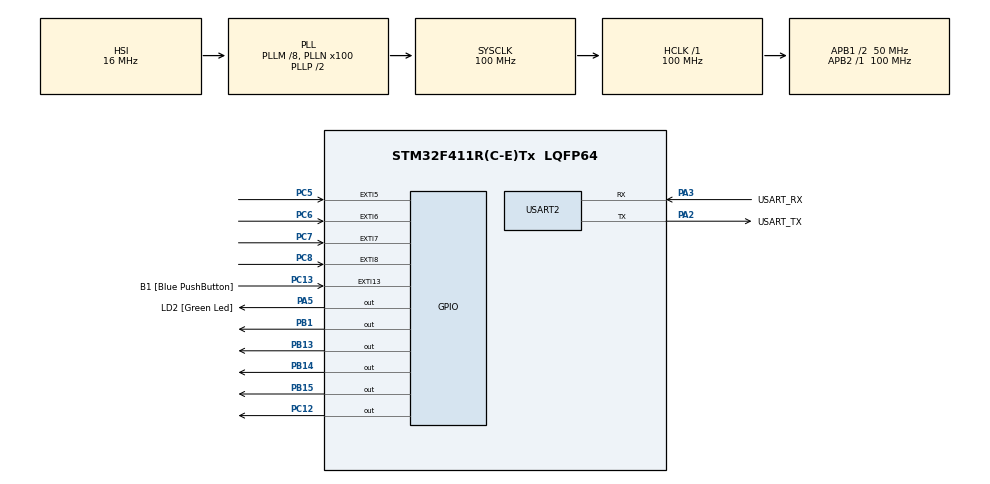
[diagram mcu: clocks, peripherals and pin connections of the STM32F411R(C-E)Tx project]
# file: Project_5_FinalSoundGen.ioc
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Mcu.Family=STM32F4
Mcu.Name=STM32F411R(C-E)Tx
Mcu.Package=LQFP64
NVIC.EXTI15_10_IRQn=true\:0\:0\:false\:false\:true\:true\:true
NVIC.EXTI9_5_IRQn=true\:0\:0\:false\:false\:true\:true\:true
NVIC.PriorityGroup=NVIC_PRIORITYGROUP_0
NVIC.TIM3_IRQn=true\:0\:0\:false\:false\:true\:true\:true
NVIC.USART2_IRQn=true\:0\:0\:false\:false\:true\:true\:true
PA13.GPIO_Label=TMS
PA13.Mode=Serial_Wire
PA13.Signal=SYS_JTMS-SWDIO
PA14.GPIO_Label=TCK
PA14.Mode=Serial_Wire
PA14.Signal=SYS_JTCK-SWCLK
PA2.GPIO_Label=USART_TX
PA2.Mode=Asynchronous
PA2.Signal=USART2_TX
PA3.GPIO_Label=USART_RX
PA3.Mode=Asynchronous
PA3.Signal=USART2_RX
PA5.GPIO_Label=LD2 [Green Led]
PA5.Signal=GPIO_Output
PB1.GPIO_PuPd=GPIO_PULLDOWN
PB1.Signal=GPIO_Output
PB13.GPIO_PuPd=GPIO_PULLDOWN
PB13.Signal=GPIO_Output
PB14.GPIO_PuPd=GPIO_PULLDOWN
PB14.Signal=GPIO_Output
PB15.GPIO_PuPd=GPIO_PULLDOWN
PB15.Signal=GPIO_Output
PB3.GPIO_Label=SWO
PB3.Signal=SYS_JTDO-SWO
PC12.Signal=GPIO_Output
PC13-ANTI_TAMP.GPIO_Label=B1 [Blue PushButton]
PC13-ANTI_TAMP.GPIO_ModeDefaultEXTI=GPIO_MODE_IT_FALLING
PC13-ANTI_TAMP.Signal=GPXTI13
PC14-OSC32_IN.Mode=LSE-External-Oscillator
PC14-OSC32_IN.Signal=RCC_OSC32_IN
PC15-OSC32_OUT.Mode=LSE-External-Oscillator
PC15-OSC32_OUT.Signal=RCC_OSC32_OUT
PC5.GPIO_ModeDefaultEXTI=GPIO_MODE_IT_FALLING
PC5.GPIO_PuPd=GPIO_PULLUP
PC5.Signal=GPXTI5
PC6.GPIO_ModeDefaultEXTI=GPIO_MODE_IT_FALLING
PC6.GPIO_PuPd=GPIO_PULLUP
PC6.Signal=GPXTI6
PC7.GPIO_ModeDefaultEXTI=GPIO_MODE_IT_FALLING
PC7.GPIO_PuPd=GPIO_PULLUP
PC7.Signal=GPXTI7
PC8.GPIO_ModeDefaultEXTI=GPIO_MODE_IT_FALLING
PC8.GPIO_PuPd=GPIO_PULLUP
PC8.Signal=GPXTI8
PH0\ -\ OSC_IN.Mode=HSE-External-Clock-Source
PH0\ -\ OSC_IN.Signal=RCC_OSC_IN
PH1\ -\ OSC_OUT.Mode=HSE-External-Clock-Source
PH1\ -\ OSC_OUT.Signal=RCC_OSC_OUT
ProjectManager.HeapSize=0x200
ProjectManager.StackSize=0x400
ProjectManager.TargetToolchain=STM32CubeIDE
RCC.48MHZClocksFreq_Value=50000000
RCC.AHBFreq_Value=100000000
RCC.APB1CLKDivider=RCC_HCLK_DIV2
RCC.APB1Freq_Value=50000000
RCC.APB1TimFreq_Value=100000000
RCC.APB2Freq_Value=100000000
RCC.APB2TimFreq_Value=100000000
RCC.CortexFreq_Value=100000000
RCC.FLatency-AdvancedSettings=FLASH_LATENCY_3
RCC.HCLKFreq_Value=100000000
RCC.HSE_VALUE=8000000
RCC.HSI_VALUE=16000000
RCC.PLLM=8
RCC.PLLN=100
RCC.SYSCLKFreq_VALUE=100000000
RCC.SYSCLKSource=RCC_SYSCLKSOURCE_PLLCLK
RCC.VCOOutputFreq_Value=200000000
TIM3.Prescaler=1
USART2.VirtualMode=VM_ASYNC
VP_TIM3_VS_ClockSourceINT.Mode=Internal
board=NUCLEO-F411RE

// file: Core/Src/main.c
/* USER CODE BEGIN Header */
/**
  ******************************************************************************
  * @file           : main.c
  * @brief          : Main program body
  ******************************************************************************
  * @attention
  *
  * <h2><center>&copy; Copyright (c) 2021 STMicroelectronics.
  * All rights reserved.</center></h2>
  *
  * This software component is licensed by ST under BSD 3-Clause license,
  * the "License"; You may not use this file except in compliance with the
  * License. You may obtain a copy of the License at:
  *                        opensource.org/licenses/BSD-3-Clause
  *
  ******************************************************************************
  */
/* USER CODE END Header */
#include "main.h"

/* USER CODE BEGIN Includes */
#include "string.h"
#include "stdlib.h"
#include "stdbool.h"
#include "float.h"
#include "stdio.h"
#include "memory.h"
#include "stdint.h"
#include "stm32f4xx_hal_rcc.h"
#include "stm32f4xx_hal.h"
#include "stm32f4xx_hal_exti.h"
#include "stm32f4xx_hal_flash_ex.h"
#include "stm32f4xx_hal_flash.h"
#include "stm32f4xx_hal_gpio.h"
/* USER CODE END Includes */

/* USER CODE BEGIN PD */
#define FLASH_PROGRAM_BYTE	((uint32_t)0x00)
#define FLASH_PROGRAM_HWORD	((uint32_t)0x01)
#define FLASH_PROGRAM_WORD	((uint32_t)0x02)
/* USER CODE END PD */

TIM_HandleTypeDef htim3;

UART_HandleTypeDef huart2;

/* USER CODE BEGIN PV */
uint32_t timer;
uint32_t timerRaw;

//uint32_t i = 0;

char keyChar = 0;
uint16_t key = 0;
/* USER CODE END PV */

void SystemClock_Config(void);
static void MX_GPIO_Init(void);
static void MX_USART2_UART_Init(void);
static void MX_TIM3_Init(void);
/* USER CODE BEGIN PFP */
uint16_t keyPadScan(void);
/* USER CODE END PFP */

int main(void)
{

  /* MCU Configuration--------------------------------------------------------*/

  /* Reset of all peripherals, Initializes the Flash interface and the Systick. */
  HAL_Init();

  /* Configure the system clock */
  SystemClock_Config();

  /* Initialize all configured peripherals */
  MX_GPIO_Init();
  MX_USART2_UART_Init();
  MX_TIM3_Init();
  /* USER CODE BEGIN 2 */
//int state = 0;

HAL_TIM_Base_Start(&htim3);

  /* USER CODE END 2 */

  /* Infinite loop */
  /* USER CODE BEGIN WHILE */
  while (1)
  {

	  timerRaw = __HAL_TIM_GET_COUNTER(&htim3);
	  if(timerRaw != timer){
		  timer++;
	  }

//if((state == 0)&(timer <= 5000)){
//	HAL_GPIO_WritePin(GPIOC, GPIO_PIN_12, GPIO_PIN_SET);
//}else if((state == 0)&(timer >= 5000)){
//	HAL_GPIO_WritePin(GPIOC, GPIO_PIN_12, GPIO_PIN_RESET);
//}

if(keyChar != 0){
	//C4 1 261.63
	if(keyChar == 49){
		if(timer >= 2582){
		  timer = 0;
		}
		if(timer <= 1241){
			HAL_GPIO_WritePin(GPIOC, GPIO_PIN_12, GPIO_PIN_SET);
		}else if(timer >= 1241){
			HAL_GPIO_WritePin(GPIOC, GPIO_PIN_12, GPIO_PIN_RESET);
		}
	}
	//D 2 293.66
	if(keyChar == 50){
		if(timer >= 2300){
		  timer = 0;
		}
		if(timer <= 1150){
			HAL_GPIO_WritePin(GPIOC, GPIO_PIN_12, GPIO_PIN_SET);
		}else if(timer >= 1150){
			HAL_GPIO_WritePin(GPIOC, GPIO_PIN_12, GPIO_PIN_RESET);
		}
	}
	//E 3 329.63
	if(keyChar == 51){
		if(timer >= 2052){
		  timer = 0;
		}
		if(timer <= 1026){
			HAL_GPIO_WritePin(GPIOC, GPIO_PIN_12, GPIO_PIN_SET);
		}else if(timer >= 1026){
			HAL_GPIO_WritePin(GPIOC, GPIO_PIN_12, GPIO_PIN_RESET);
		}
	}
	//F 4 349.23
	if(keyChar == 52){
		if(timer >= 1942){
		  timer = 0;
		}
		if(timer <= 971){
			HAL_GPIO_WritePin(GPIOC, GPIO_PIN_12, GPIO_PIN_SET);
		}else if(timer >= 971){
			HAL_GPIO_WritePin(GPIOC, GPIO_PIN_12, GPIO_PIN_RESET);
		}
	}
	//G 5 391.00
	if(keyChar == 53){
		if(timer >= 1728){
		  timer = 0;
		}
		if(timer <= 864){
			HAL_GPIO_WritePin(GPIOC, GPIO_PIN_12, GPIO_PIN_SET);
		}else if(timer >= 864){
			HAL_GPIO_WritePin(GPIOC, GPIO_PIN_12, GPIO_PIN_RESET);
		}
	}
	//A 6 440.00
	if(keyChar == 54){
		if(timer >= 1530){
		  timer = 0;
		}
		if(timer <= 765){
			HAL_GPIO_WritePin(GPIOC, GPIO_PIN_12, GPIO_PIN_SET);
		}else if(timer >= 765){
			HAL_GPIO_WritePin(GPIOC, GPIO_PIN_12, GPIO_PIN_RESET);
		}
	}
	//B 7 493.88
	if(keyChar == 55){
		if(timer >= 1374){
		  timer = 0;
		}
		if(timer <= 687){
			HAL_GPIO_WritePin(GPIOC, GPIO_PIN_12, GPIO_PIN_SET);
		}else if(timer >= 687){
			HAL_GPIO_WritePin(GPIOC, GPIO_PIN_12, GPIO_PIN_RESET);
		}
	}
	//C5 8 523.25
	if(keyChar == 56){
		if(timer >= 1288){
		  timer = 0;
		}
		if(timer <= 644){
			HAL_GPIO_WritePin(GPIOC, GPIO_PIN_12, GPIO_PIN_SET);
		}else if(timer >= 644){
			HAL_GPIO_WritePin(GPIOC, GPIO_PIN_12, GPIO_PIN_RESET);
		}
	}
}

    /* USER CODE END WHILE */

  }
}

void SystemClock_Config(void)
{
  RCC_OscInitTypeDef RCC_OscInitStruct = {0};
  RCC_ClkInitTypeDef RCC_ClkInitStruct = {0};

  /** Configure the main internal regulator output voltage
  */
  __HAL_RCC_PWR_CLK_ENABLE();
  __HAL_PWR_VOLTAGESCALING_CONFIG(PWR_REGULATOR_VOLTAGE_SCALE1);
  /** Initializes the RCC Oscillators according to the specified parameters
  * in the RCC_OscInitTypeDef structure.
  */
  RCC_OscInitStruct.OscillatorType = RCC_OSCILLATORTYPE_HSI;
  RCC_OscInitStruct.HSIState = RCC_HSI_ON;
  RCC_OscInitStruct.HSICalibrationValue = RCC_HSICALIBRATION_DEFAULT;
  RCC_OscInitStruct.PLL.PLLState = RCC_PLL_ON;
  RCC_OscInitStruct.PLL.PLLSource = RCC_PLLSOURCE_HSI;
  RCC_OscInitStruct.PLL.PLLM = 8;
  RCC_OscInitStruct.PLL.PLLN = 100;
  RCC_OscInitStruct.PLL.PLLP = RCC_PLLP_DIV2;
  RCC_OscInitStruct.PLL.PLLQ = 4;
  if (HAL_RCC_OscConfig(&RCC_OscInitStruct) != HAL_OK)
  {
    Error_Handler();
  }
  /** Initializes the CPU, AHB and APB buses clocks
  */
  RCC_ClkInitStruct.ClockType = RCC_CLOCKTYPE_HCLK|RCC_CLOCKTYPE_SYSCLK
                              |RCC_CLOCKTYPE_PCLK1|RCC_CLOCKTYPE_PCLK2;
  RCC_ClkInitStruct.SYSCLKSource = RCC_SYSCLKSOURCE_PLLCLK;
  RCC_ClkInitStruct.AHBCLKDivider = RCC_SYSCLK_DIV1;
  RCC_ClkInitStruct.APB1CLKDivider = RCC_HCLK_DIV2;
  RCC_ClkInitStruct.APB2CLKDivider = RCC_HCLK_DIV1;

  if (HAL_RCC_ClockConfig(&RCC_ClkInitStruct, FLASH_LATENCY_3) != HAL_OK)
  {
    Error_Handler();
  }
}

static void MX_TIM3_Init(void)
{

  TIM_ClockConfigTypeDef sClockSourceConfig = {0};
  TIM_MasterConfigTypeDef sMasterConfig = {0};

  htim3.Instance = TIM3;
  htim3.Init.Prescaler = 1;
  htim3.Init.CounterMode = TIM_COUNTERMODE_UP;
  htim3.Init.Period = 65535;
  htim3.Init.ClockDivision = TIM_CLOCKDIVISION_DIV1;
  htim3.Init.AutoReloadPreload = TIM_AUTORELOAD_PRELOAD_DISABLE;
  if (HAL_TIM_Base_Init(&htim3) != HAL_OK)
  {
    Error_Handler();
  }
  sClockSourceConfig.ClockSource = TIM_CLOCKSOURCE_INTERNAL;
  if (HAL_TIM_ConfigClockSource(&htim3, &sClockSourceConfig) != HAL_OK)
  {
    Error_Handler();
  }
  sMasterConfig.MasterOutputTrigger = TIM_TRGO_RESET;
  sMasterConfig.MasterSlaveMode = TIM_MASTERSLAVEMODE_DISABLE;
  if (HAL_TIMEx_MasterConfigSynchronization(&htim3, &sMasterConfig) != HAL_OK)
  {
    Error_Handler();
  }

}

static void MX_USART2_UART_Init(void)
{

  huart2.Instance = USART2;
  huart2.Init.BaudRate = 115200;
  huart2.Init.WordLength = UART_WORDLENGTH_8B;
  huart2.Init.StopBits = UART_STOPBITS_1;
  huart2.Init.Parity = UART_PARITY_NONE;
  huart2.Init.Mode = UART_MODE_TX_RX;
  huart2.Init.HwFlowCtl = UART_HWCONTROL_NONE;
  huart2.Init.OverSampling = UART_OVERSAMPLING_16;
  if (HAL_UART_Init(&huart2) != HAL_OK)
  {
    Error_Handler();
  }

}

static void MX_GPIO_Init(void)
{
  GPIO_InitTypeDef GPIO_InitStruct = {0};

  /* GPIO Ports Clock Enable */
  __HAL_RCC_GPIOC_CLK_ENABLE();
  __HAL_RCC_GPIOH_CLK_ENABLE();
  __HAL_RCC_GPIOA_CLK_ENABLE();
  __HAL_RCC_GPIOB_CLK_ENABLE();

  /*Configure GPIO pin Output Level */
  HAL_GPIO_WritePin(LD2_GPIO_Port, LD2_Pin, GPIO_PIN_RESET);

  /*Configure GPIO pin Output Level */
  HAL_GPIO_WritePin(GPIOB, GPIO_PIN_1|GPIO_PIN_13|GPIO_PIN_14|GPIO_PIN_15, GPIO_PIN_RESET);

  /*Configure GPIO pin Output Level */
  HAL_GPIO_WritePin(GPIOC, GPIO_PIN_12, GPIO_PIN_RESET);

  /*Configure GPIO pin : B1_Pin */
  GPIO_InitStruct.Pin = B1_Pin;
  GPIO_InitStruct.Mode = GPIO_MODE_IT_FALLING;
  GPIO_InitStruct.Pull = GPIO_NOPULL;
  HAL_GPIO_Init(B1_GPIO_Port, &GPIO_InitStruct);

  /*Configure GPIO pin : LD2_Pin */
  GPIO_InitStruct.Pin = LD2_Pin;
  GPIO_InitStruct.Mode = GPIO_MODE_OUTPUT_PP;
  GPIO_InitStruct.Pull = GPIO_NOPULL;
  GPIO_InitStruct.Speed = GPIO_SPEED_FREQ_LOW;
  HAL_GPIO_Init(LD2_GPIO_Port, &GPIO_InitStruct);

  /*Configure GPIO pins : PC5 PC6 PC7 PC8 */
  GPIO_InitStruct.Pin = GPIO_PIN_5|GPIO_PIN_6|GPIO_PIN_7|GPIO_PIN_8;
  GPIO_InitStruct.Mode = GPIO_MODE_IT_FALLING;
  GPIO_InitStruct.Pull = GPIO_PULLUP;
  HAL_GPIO_Init(GPIOC, &GPIO_InitStruct);

  /*Configure GPIO pins : PB1 PB13 PB14 PB15 */
  GPIO_InitStruct.Pin = GPIO_PIN_1|GPIO_PIN_13|GPIO_PIN_14|GPIO_PIN_15;
  GPIO_InitStruct.Mode = GPIO_MODE_OUTPUT_PP;
  GPIO_InitStruct.Pull = GPIO_PULLDOWN;
  GPIO_InitStruct.Speed = GPIO_SPEED_FREQ_LOW;
  HAL_GPIO_Init(GPIOB, &GPIO_InitStruct);

  /*Configure GPIO pin : PC12 */
  GPIO_InitStruct.Pin = GPIO_PIN_12;
  GPIO_InitStruct.Mode = GPIO_MODE_OUTPUT_PP;
  GPIO_InitStruct.Pull = GPIO_NOPULL;
  GPIO_InitStruct.Speed = GPIO_SPEED_FREQ_LOW;
  HAL_GPIO_Init(GPIOC, &GPIO_InitStruct);

  /* EXTI interrupt init*/
  HAL_NVIC_SetPriority(EXTI9_5_IRQn, 0, 0);
  HAL_NVIC_EnableIRQ(EXTI9_5_IRQn);

  HAL_NVIC_SetPriority(EXTI15_10_IRQn, 0, 0);
  HAL_NVIC_EnableIRQ(EXTI15_10_IRQn);

}

/* USER CODE BEGIN 4 */
uint16_t keyPadScan(void){
	return 0;
}
/* USER CODE END 4 */

void Error_Handler(void)
{
  __disable_irq();
  while (1)
  {
  }
}

/************************ (C) COPYRIGHT STMicroelectronics *****END OF FILE****/
